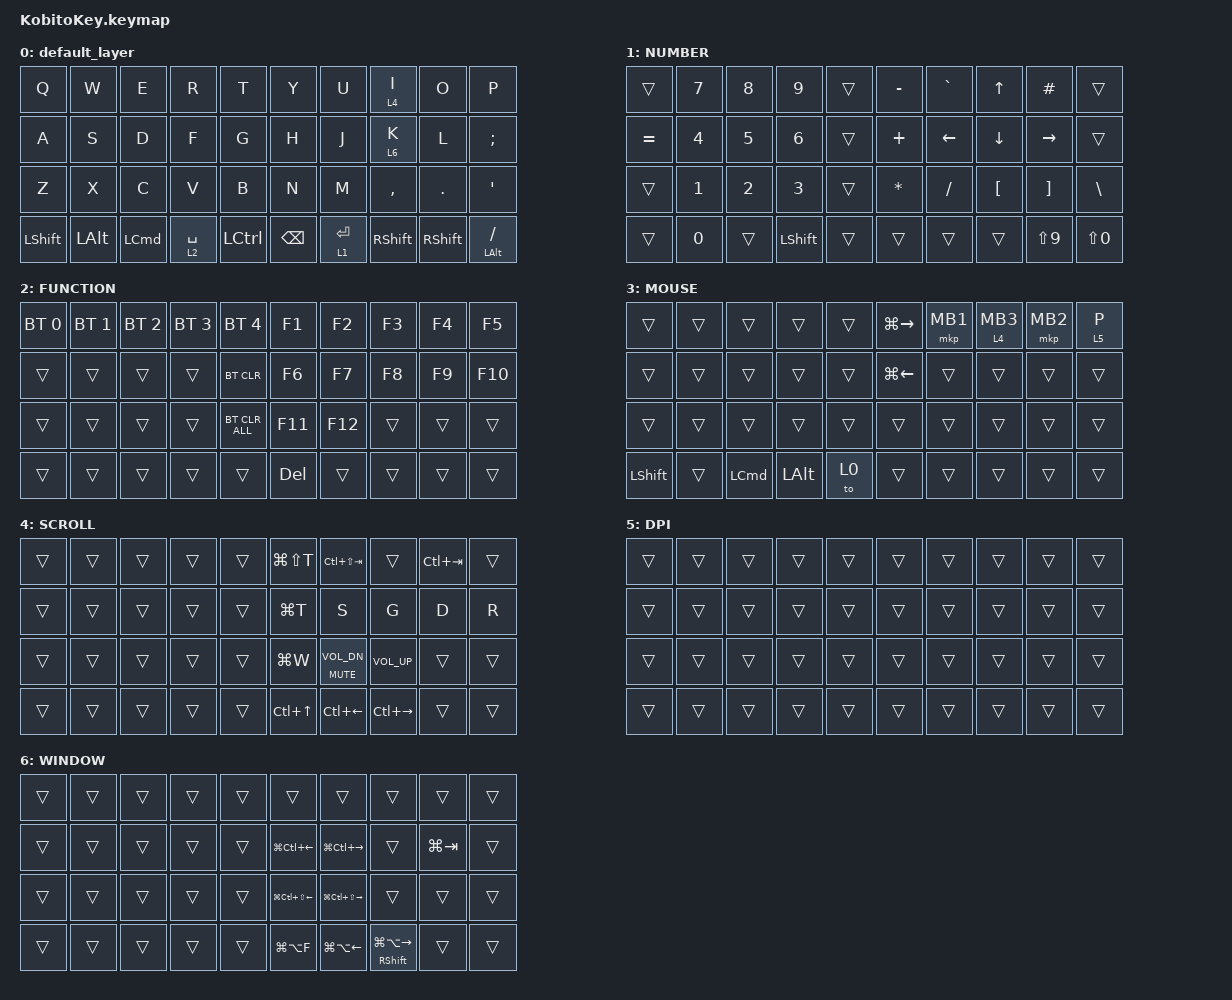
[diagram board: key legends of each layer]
// ==============================================================================
// 【ファイル概要】KobitoKey.keymap
// 小人キー（左右分割40キー + 両手トラックボール）のキーマップ定義ファイルです。
// 通常の文字入力、同時押し（コンボ）、長押し（レイヤータップ）、各レイヤーの動作を定義しています。
// ==============================================================================

// ------------------------------------------------------------------------------
// 【ヘッダーファイルのインクルード】
// ZMK ファームウェアの各種標準機能を取り込んでいます
// ------------------------------------------------------------------------------
#include <input/processors.dtsi>     // トラックボールなどのポインティング入力処理
#include <behaviors.dtsi>            // タップ・長押し（Layer Tap / Mod Tap）などの動作定義
#include <dt-bindings/zmk/bt.h>      // Bluetooth操作用コマンド (BT_SEL, BT_CLR等)
#include <dt-bindings/zmk/keys.h>    // 一般キーコード定義 (A〜Z, 数字, 記号, 修飾キー等)
#include <dt-bindings/zmk/pointing.h>// マウス操作用コード (mkp MB1, MB2等)

/ {
    // ==========================================================================
    // 【カスタムビヘイビアの定義】
    // ==========================================================================
    behaviors {
        // ★ 短押しでマウスボタン（&mkp）、長押しでレイヤー移動（&mo）を行うホールドタップ
        lt_mb3: layer_tap_mb3 {
            compatible = "zmk,behavior-hold-tap";
            #binding-cells = <2>;
            flavor = "balanced";
            tapping-term-ms = <200>;
            bindings = <&mo>, <&mkp>;
        };

        // 短押しでウィンドウ右寄せ（Cmd + Opt + →）、長押しでShiftになるMod-Tap
        mt_win_right: modifier_tap_win_right {
            compatible = "zmk,behavior-hold-tap";
            #binding-cells = <2>;
            flavor = "balanced";
            tapping-term-ms = <200>;
            bindings = <&kp>, <&kp>;
        };
    };

    // ==========================================================================
    // 【コンボ（同時押し）の定義】
    // 指定した複数のキーをほぼ同時に押したときに別のキー入力を発生させる便利機能です。
    // キー位置（key-positions）は、全40キーに左上から順に 0〜39 の番号が振られています。
    // ==========================================================================
    combos {
        compatible = "zmk,combos";

        // 「英数」切り替えコンボ (Mac/Win用)
        // D(12) と F(13) を50ms以内に同時押しすると「英数キー」を送信
        combo_eisu {
            timeout-ms = <50>;
            key-positions = <12 13>;
            bindings = <&kp LANG2>;
        };

        // 「かな」切り替えコンボ (Mac/Win用)
        // J(16) と K(17) を50ms以内に同時押しすると「かなキー」を送信
        combo_kana {
            timeout-ms = <50>;
            key-positions = <16 17>;
            bindings = <&kp LANG1>;
        };

        // 「Escape」キーのコンボ
        // Q(0) と W(1) を50ms以内に同時押しすると「Escキー」を送信
        combo_esc {
            timeout-ms = <50>;
            key-positions = <0 1>;
            bindings = <&kp ESC>;
        };

        // 「Tab」キーのコンボ
        // A(10) と S(11) を50ms以内に同時押しすると「Tabキー」を送信
        combo_tab {
            timeout-ms = <50>;
            key-positions = <10 11>;
            bindings = <&kp TAB>;
        };

        // 「アプリケーションウィンドウ」表示のコンボ (Mac用)
        combo_app_windows {
            timeout-ms = <50>;
            bindings = <&kp LC(DOWN)>;
            key-positions = <6 8>;
        };

        // 「Ctrl」キーのコンボ
        // BSCP(35) と ENT(36) を50ms以内に同時押しすると「Ctrlキー」を送信
        combo_ctrl {
            timeout-ms = <50>;
            bindings = <&kp RCTRL>;
            key-positions = <35 36>;
        };

        // 「Command」キーのコンボ
        // ENT(36) と SHIFT(37) を50ms以内に同時押しすると「Commandキー」を送信
        combo_Command {
            timeout-ms = <50>;
            bindings = <&kp RCMD>;
            key-positions = <36 37>;
        };
    };

    // ==========================================================================
    // 【キーマップ（レイヤー）の定義】
    // 各レイヤーごとに全40キー（4行 × 左右各5キー = 40キー）の割り当てを記述しています。
    // ==========================================================================
    keymap {
        compatible = "zmk,keymap";

        // ----------------------------------------------------------------------
        // ■ Layer 0: default_layer（標準の英字入力レイヤー）
        // ----------------------------------------------------------------------
        default_layer {
            bindings = <
// [1行目: 最上段]
// 左手: Q, W, E, R, T                          | 右手: Y, U, [長押し Layer4 / 短押し I], O, P
&kp Q      &kp W     &kp E     &kp R        &kp T      &kp Y     &kp U        &lt 4 I    &kp O      &kp P

// [2行目: ホームポジション段]
// 左手: A, S, D, F, G                          | 右手: H, J, [長押し Layer6 / 短押し K], L, ; (セミコロン)
&kp A      &kp S     &kp D     &kp F        &kp G      &kp H     &kp J        &lt 6 K    &kp L      &kp SEMI

// [3行目: 下段]
// 左手: Z, X, C, V, B                          | 右手: N, M, , (カンマ), . (ピリオド), ' (シングルクォート)
&kp Z      &kp X     &kp C     &kp V        &kp B      &kp N     &kp M        &kp COMMA  &kp DOT    &kp APOS

// [4行目: 最下段・親指まわり]
// 左手: 左Shift, 左Alt, 左Cmd, [長押しLayer2 / 短押しSpace], 左Ctrl
// 右手: Backspace, [長押しLayer1 / 短押しEnter], 右Shift, 右Shift, [長押しLeft Alt / 短押し /]
&kp LSHFT  &kp LALT  &kp LCMD  &lt 2 SPACE  &kp LCTRL  &kp BSPC  &lt 1 ENTER  &kp RSHFT  &kp RSHFT  &mt LALT SLASH
            >;
        };

        // ----------------------------------------------------------------------
        // ■ Layer 1: layer1 [NUMBER]（数字テンキー ＆ 矢印・記号レイヤー）
        // Space右側の「Enter（lt 1 ENTER）」を長押ししている間、このレイヤーになります。
        // ----------------------------------------------------------------------
        layer1 {
            label = "NUMBER";
            bindings = <
// [1行目]
// 左手: (透過), 7, 8, 9, (透過)        | 右手: - (マイナス), `(バッククォート), ↑ (上矢印), #(ハッシュ), (透過)
&trans     &kp N7  &kp N8  &kp N9     &trans  &kp MINUS  &kp GRAVE  &kp UP    &kp HASH   &trans

// [2行目]
// 左手: = (イコール), 4, 5, 6, (透過)   | 右手: + (プラス), ← (左矢印), ↓ (下矢印), → (右矢印), (透過)
&kp EQUAL  &kp N4  &kp N5  &kp N6     &trans  &kp PLUS   &kp LEFT   &kp DOWN  &kp RIGHT  &trans

// [3行目]
// 左手: (透過), 1, 2, 3, (透過)        | 右手: * (アスタリスク), / (スラッシュ), [ (開き角括弧), ] (閉じ角括弧), \(バックスラッシュ)
&trans     &kp N1  &kp N2  &kp N3     &trans  &kp ASTRK  &kp SLASH  &kp LBKT  &kp RBKT   &kp BSLH

// [4行目]
// 左手: (透過), 0, (透過), 左Shift, (透過)| 右手: (透過), (透過), (透過), （(開き丸括弧), ）(閉じ丸括弧)
&trans     &kp N0  &trans  &kp LSHFT  &trans  &trans     &trans     &trans    &kp LS(N9) &kp LS(N0)
            >;
        };

        // ----------------------------------------------------------------------
        // ■ Layer 2: layer2 [FUNCTION]（Bluetooth接続 ＆ ファンクションキー）
        // 左手親指の「Space（lt 2 SPACE）」を長押ししている間、このレイヤーになります。
        // ----------------------------------------------------------------------
        layer2 {
            label = "FUNCTION";
            bindings = <
// [1行目]
// 左手: Bluetooth接続先 1〜5番の切り替え        | 右手: F1 〜 F5
&bt BT_SEL 0  &bt BT_SEL 1  &bt BT_SEL 2  &bt BT_SEL 3  &bt BT_SEL 4    &kp F1   &kp F2   &kp F3  &kp F4  &kp F5

// [2行目]
// 左手: (透過), (透過), (透過), (透過), 現在のBTペアリング消去 | 右手: F6 〜 F10
&trans        &trans        &trans        &trans        &bt BT_CLR      &kp F6   &kp F7   &kp F8  &kp F9  &kp F10

// [3行目]
// 左手: (透過), (透過), (透過), (透過), 全BTペアリング消去   | 右手: F11, F12, (透過), (透過), (透過)
&trans        &trans        &trans        &trans        &bt BT_CLR_ALL  &kp F11  &kp F12  &trans  &trans  &trans

// [4行目]
// 左手: (すべて透過)                           | 右手: Deleteキー, (残り透過)
&trans        &trans        &trans        &trans        &trans          &kp DEL  &trans   &trans  &trans  &trans
            >;
        };

        // ----------------------------------------------------------------------
        // ■ Layer 3: layer3 [MOUSE]（トラックボール操作用マウスレイヤー）
        // トラックボールを動かした際に自動的（AUTO MOUSE）に呼び出されるレイヤーです。
        // ----------------------------------------------------------------------
        layer3 {
            label = "MOUSE";
            bindings = <
// [1行目]
// 左手: (透過)                                 | 右手: 進む (Cmd+右), 左クリック (MB1), [長押し Layer4 / 短押し 中/ホイールクリック(MB3)], 右クリック (MB2), [長押し DPIホールド / 短押し P]
&trans     &trans  &trans    &trans    &trans  &kp LG(RIGHT) &mkp MB1  &lt_mb3 4 MB3  &mkp MB2  &lt 5 P

// [2行目]
// 左手: (透過)                                 | 右手: 戻る (Cmd+左), (透過), (透過), (透過), (透過)
&trans     &trans  &trans    &trans    &trans  &kp LG(LEFT)  &trans    &trans         &trans    &trans

// [3行目]
// 左手・右手: すべて透過
&trans     &trans  &trans    &trans    &trans  &trans        &trans    &trans         &trans    &trans

// [4行目]
// 左手: 左Shift, (透過), 左Cmd, 左Alt, [Layer 0に戻る] | 右手: すべて透過
&kp LSHFT  &trans  &kp LCMD  &kp LALT  &to 0   &trans        &trans    &trans         &trans    &trans
            >;
        };

        // ----------------------------------------------------------------------
        // ■ Layer 4: layer4 [SCROLL ＆ SHORTCUTS]（右手のみでのIキー長押し操作用）
        // トラックボールスクロール ＆ 仮想デスクトップ・ウィンドウ操作
        // タブの操作（移動・作成・削除・復活）とテキスト入力（s, g, d, r）
        // 音量コントロール（音量調整・ミュート）
        // ----------------------------------------------------------------------
        layer4 {
            label = "SCROLL";
            bindings = <
// [1行目]
// 左手: (透過)                                    | 右手: タブ復活(Cmd+Shift+T) | 前のタブ(Ctrl+Shift+Tab) | 透過(I 長押し中) | 次のタブ(Ctrl+Tab) | (透過)
&trans     &trans    &trans    &trans    &trans   &kp LG(LS(T))  &kp LC(LS(TAB))  &trans    &kp LC(TAB)      &trans

// [2行目]
// 左手: (透過)                                    | 右手:新規タブ(Cmd+T) | s | g | d | r |
&trans     &trans    &trans    &trans    &trans   &kp LG(T)    &kp S  &kp G  &kp D  &kp R

// [3行目]
// 左手: (透過)                                    | 右手:タブ削除(Cmd+W) | [長押し ミュート / 短押し 音量下] | 音量上げ | (透過) | (透過) |
&trans     &trans    &trans    &trans    &trans   &kp LG(W)    &mt C_MUTE C_VOL_DN    &kp C_VOL_UP    &trans    &trans

// [4行目]
// 左手: (透過)                                    | 右手:Mission Control(Ctrl上) | 仮想デスクトップ左に移動(Ctrl左) | 仮想デスクトップ右に移動(Ctrl右) |(透過)|(透過)|
&trans     &trans    &trans    &trans    &trans   &kp LC(UP)  &kp LC(LEFT)  &kp LC(RIGHT)  &trans  &trans
            >;
        };

        // ----------------------------------------------------------------------
        // ■ Layer 5: layer5 [DPI/SNIPE]（長押し中の精密操作スナイパーレイヤー）
        // Layer 3 の DPIホールドキー長押し中に有効化されます。
        // すべて透過(&trans)にしておくことで、Layer 3 のクリック(MB1/MB2/MB3)等をそのまま使用可能。
        // ----------------------------------------------------------------------
        layer5 {
            label = "DPI";
            bindings = <
&trans &trans &trans &trans &trans   &trans &trans &trans &trans &trans
&trans &trans &trans &trans &trans   &trans &trans &trans &trans &trans
&trans &trans &trans &trans &trans   &trans &trans &trans &trans &trans
&trans &trans &trans &trans &trans   &trans &trans &trans &trans &trans
            >;
        };

        // ----------------------------------------------------------------------
        // ■ Layer 6: layer6 [WINDOW]（ウィンドウ整理・配置レイヤー）
        // Layer 0 および Layer 3 の Kキー（キー番号17）長押し中に有効化されます。
        // ----------------------------------------------------------------------
        layer6 {
            label = "WINDOW";
            bindings = <
// [1行目]
// 左手: (すべて透過)                           | 右手: (すべて透過)
&trans &trans &trans &trans &trans   &trans &trans &trans &trans &trans

// [2行目]
// 左手: (すべて透過)                           | 右手: ウィンドウ左上寄せ(Cmd+Ctrl+←), ウィンドウ右上寄せ(Cmd+Ctrl+→), (K長押し中), Command+Tab, (透過)
&trans &trans &trans &trans &trans   &kp LG(LC(LEFT)) &kp LG(LC(RIGHT)) &trans &kp LG(TAB) &trans

// [3行目]
// 左手: (すべて透過)                           | 右手: ウィンドウ左下寄せ(Cmd+Ctrl+Shift+←), ウィンドウ右下寄せ(Cmd+Ctrl+Shift+→), (残り透過)
&trans &trans &trans &trans &trans   &kp LG(LC(LS(LEFT))) &kp LG(LC(LS(RIGHT))) &trans &trans &trans

// [4行目]
// 左手: (すべて透過)                           | 右手: ウィンドウ最大化(Cmd+Opt+F), ウィンドウ左寄せ(Cmd+Opt+←), [長押し:Shift / 短押し:ウィンドウ右寄せ(Cmd+Opt+→)], (残り透過)
&trans &trans &trans &trans &trans   &kp LG(LA(F)) &kp LG(LA(LEFT)) &mt_win_right RSHFT LG(LA(RIGHT)) &trans &trans
            >;
        };
    };
};
